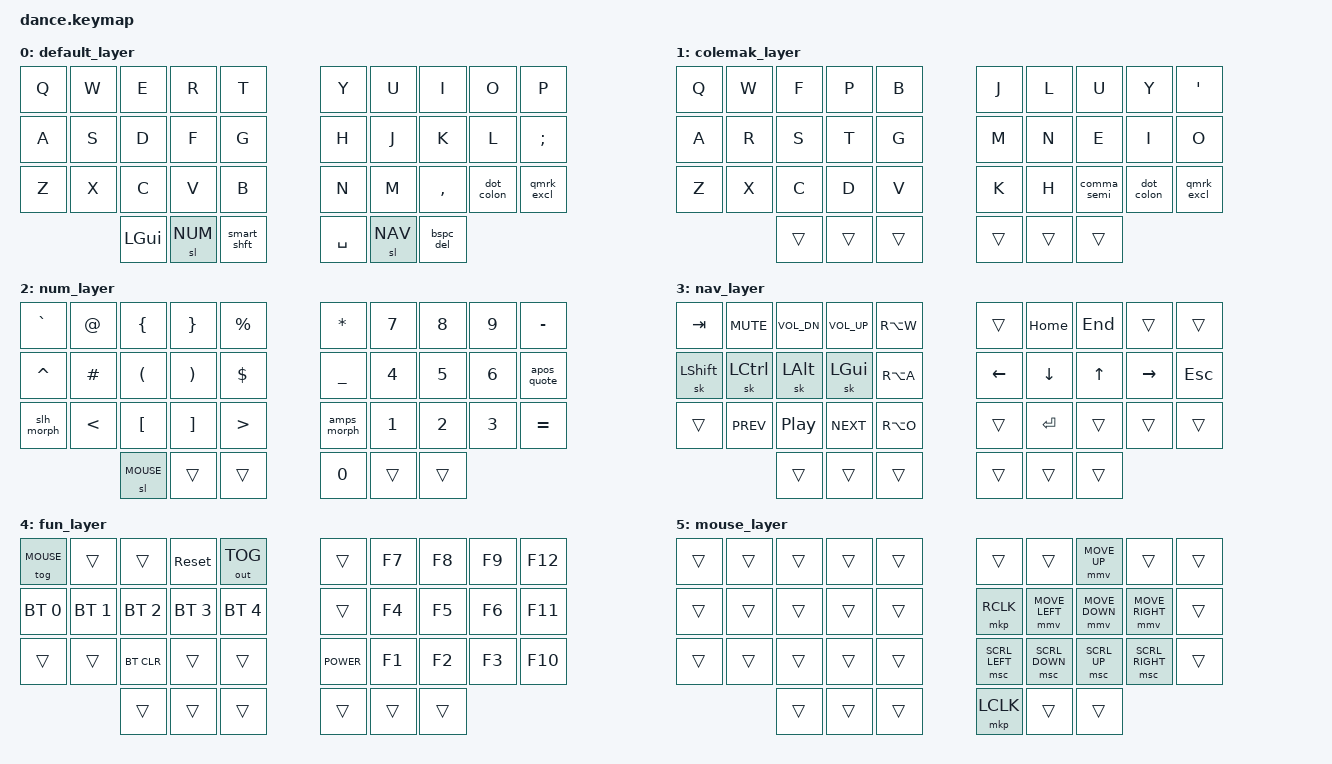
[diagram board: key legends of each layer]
/*
 * Copyright (c) 2020 The ZMK Contributors
 *
 * SPDX-License-Identifier: MIT
 */

#include <behaviors.dtsi>
#include <behaviors/mouse_keys.dtsi>
#include <dt-bindings/zmk/bt.h>
#include <dt-bindings/zmk/keys.h>
#include <dt-bindings/zmk/mouse.h>
#include <dt-bindings/zmk/outputs.h>

#define DEFAULT 0
#define COLEMAK 1
#define NUM 2
#define NAV 3
#define FUN 4
#define MOUSE 5

#define ZMK_MOUSE_DEFAULT_SCRL_VAL 35

&mmv {
    acceleration-exponent = <1>;      // 1
    time-to-max-speed-ms = <300>;     // 300
    delay-ms = <0>;                   // 0
    trigger-period-ms = <8>;          // 16
};

&msc {
    acceleration-exponent = <1>;      // 0
    time-to-max-speed-ms = <40>;      // 300
    delay-ms = <0>;                   // 0
    trigger-period-ms = <8>;          // 16
};


/ {
    conditional_layers {
        compatible = "zmk,conditional-layers";

        tri_layer {
            if-layers = <NUM NAV>;
            then-layer = <FUN>;
        };
    };

    behaviors {
        bspc_del: backspace_delete {
            compatible = "zmk,behavior-mod-morph";
            label = "BACKSPACE_DELETE";
            #binding-cells = <0>;
            bindings = <&kp BACKSPACE>, <&kp DELETE>;

            mods = <(MOD_LSFT|MOD_RSFT)>;
            keep-mods = <(MOD_RSFT)>;
        };

        smart_shft: smart_shift {
            compatible = "zmk,behavior-mod-morph";
            label = "SMART_SHIFT";
            #binding-cells = <0>;
            bindings = <&sk LSHFT>, <&caps_word>;

            mods = <(MOD_LSFT)>;
        };

        comma_semi: comma_semi {
            compatible = "zmk,behavior-mod-morph";
            label = "COMMA_SEMI";
            #binding-cells = <0>;
            bindings = <&kp COMMA>, <&kp SEMI>;

            mods = <(MOD_LSFT)>;
        };

        dot_colon: dot_colon {
            compatible = "zmk,behavior-mod-morph";
            label = "DOT_COLON";
            #binding-cells = <0>;
            bindings = <&kp DOT>, <&kp COLON>;

            mods = <(MOD_LSFT)>;
        };

        qmrk_excl: qmrk_excl {
            compatible = "zmk,behavior-mod-morph";
            label = "QUESTION_EXCLAMATION";
            #binding-cells = <0>;
            bindings = <&kp QMARK>, <&kp EXCL>;

            mods = <(MOD_LSFT)>;
        };

        slh_morph: slh_morph {
            compatible = "zmk,behavior-mod-morph";
            label = "SLASH_MORPH";
            #binding-cells = <0>;
            bindings = <&kp FSLH>, <&kp BSLH>;

            mods = <(MOD_LSFT)>;
        };

        amps_morph: amps_morph {
            compatible = "zmk,behavior-mod-morph";
            label = "AMPERSAND_MORPH";
            #binding-cells = <0>;
            bindings = <&kp AMPS>, <&kp PIPE>;

            mods = <(MOD_LSFT)>;
        };

        apos_quote: apos_quote {
            compatible = "zmk,behavior-mod-morph";
            label = "APOSTROPHE_QUOTATION";
            #binding-cells = <0>;
            bindings = <&kp SQT>, <&kp DOUBLE_QUOTES>;

            mods = <(MOD_LSFT)>;
        };
    };

    combos {
        compatible = "zmk,combos";

        dfcopy {
            bindings = <&kp LG(C)>;
            key-positions = <12 13>;
        };

        erpaste {
            bindings = <&kp LG(V)>;
            key-positions = <2 3>;
        };

        QTstickyMouseLayer {
            bindings = <&sl 5>;
            key-positions = <0 4>;
        };

        CVcmdZ {
            bindings = <&kp LG(Z)>;
            key-positions = <22 23>;
        };

        AGcmdShift4 {
            bindings = <&kp LG(LS(NUMBER_4))>;
            key-positions = <10 14>;
        };

        UIcmdLeftArrow {
            bindings = <&kp LG(LEFT_ARROW)>;
            key-positions = <6 7>;
        };

        JKcmdRightArrow {
            bindings = <&kp LG(RIGHT_ARROW)>;
            key-positions = <16 17>;
        };

        ERShiftCTRLv {
            bindings = <&kp LC(V)>;
            key-positions = <2 3 32>;
        };

        DFShiftCTRLc {
            bindings = <&kp LC(C)>;
            key-positions = <32 13 12>;
        };
    };

    keymap {
        compatible = "zmk,keymap";

        default_layer {
            bindings = <
  &kp Q  &kp W  &kp E     &kp R    &kp T          &kp Y      &kp U    &kp I      &kp O    &kp P
  &kp A  &kp S  &kp D     &kp F    &kp G          &kp H      &kp J    &kp K      &kp L    &kp SEMI
  &kp Z  &kp X  &kp C     &kp V    &kp B          &kp N      &kp M    &kp COMMA  &dot_colon  &qmrk_excl
                &kp LGUI  &sl NUM  &smart_shft    &kp SPACE  &sl NAV  &bspc_del
            >;
        };

        colemak_layer {
            bindings = <
  &kp Q  &kp W  &kp F   &kp P   &kp B     &kp J   &kp L   &kp U        &kp Y       &kp APOS
  &kp A  &kp R  &kp S   &kp T   &kp G     &kp M   &kp N   &kp E        &kp I       &kp O
  &kp Z  &kp X  &kp C   &kp D   &kp V     &kp K   &kp H   &comma_semi  &dot_colon  &qmrk_excl
                &trans  &trans  &trans    &trans  &trans  &trans
            >;
        };

        num_layer {
            bindings = <
  &kp GRAVE   &kp AT    &kp LBRC  &kp RBRC  &kp PRCNT    &kp STAR     &kp N7  &kp N8  &kp N9  &kp MINUS
  &kp CARET   &kp HASH  &kp LPAR  &kp RPAR  &kp DLLR     &kp UNDER    &kp N4  &kp N5  &kp N6  &apos_quote
  &slh_morph  &kp LT    &kp LBKT  &kp RBKT  &kp GT       &amps_morph  &kp N1  &kp N2  &kp N3  &kp EQUAL
                        &sl MOUSE    &trans    &trans       &kp N0       &trans  &trans
            >;
        };

        nav_layer {
            bindings = <
  &kp TAB    &kp K_MUTE  &kp C_VOL_DN  &kp C_VOL_UP  &kp RA(W)    &trans    &kp HOME  &kp END  &trans     &trans
  &sk LSHFT  &sk LCTRL   &sk LALT      &sk LGUI      &kp RA(A)    &kp LEFT  &kp DOWN  &kp UP   &kp RIGHT  &kp ESC
  &trans     &kp C_PREV  &kp C_PP      &kp C_NEXT    &kp RA(O)    &trans    &kp RET   &trans   &trans     &trans
                         &trans        &trans        &trans       &trans    &trans    &trans
            >;
        };

        fun_layer {
            bindings = <
  &tog MOUSE  &trans        &trans        &sys_reset    &out OUT_TOG    &trans  &kp F7  &kp F8  &kp F9  &kp F12
  &bt BT_SEL 0  &bt BT_SEL 1  &bt BT_SEL 2  &bt BT_SEL 3  &bt BT_SEL 4    &trans  &kp F4  &kp F5  &kp F6  &kp F11
  &trans        &trans        &bt BT_CLR    &trans        &trans          &kp C_POWER  &kp F1  &kp F2  &kp F3  &kp F10
                              &trans        &trans        &trans          &trans  &trans  &trans
            >;
        };

        mouse_layer {
            bindings = < 
  &trans  &trans  &trans   &trans   &trans     &trans  &trans   &mmv MOVE_UP   &trans  &trans
  &trans  &trans  &trans   &trans   &trans     &mkp RCLK  &mmv MOVE_LEFT   &mmv MOVE_DOWN  &mmv MOVE_RIGHT  &trans
  &trans  &trans  &trans   &trans   &trans     &msc SCRL_LEFT  &msc SCRL_DOWN   &msc SCRL_UP   &msc SCRL_RIGHT  &trans
                &trans  &trans  &trans         &mkp LCLK &trans  &trans
            >;
        };
    };
};
